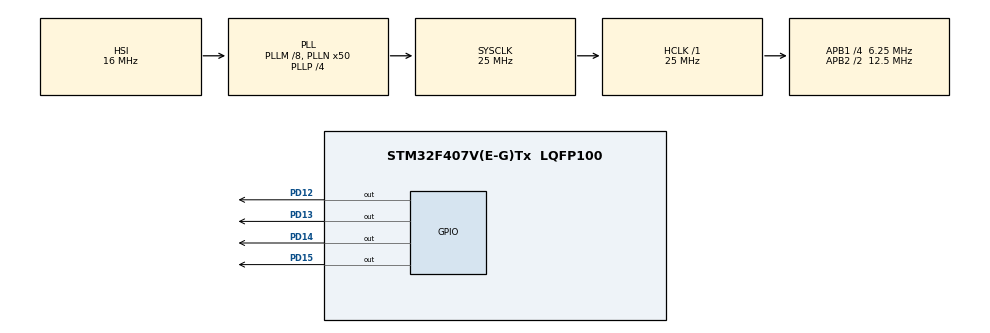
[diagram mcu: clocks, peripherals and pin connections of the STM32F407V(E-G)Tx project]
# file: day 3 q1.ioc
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Mcu.Family=STM32F4
Mcu.Name=STM32F407V(E-G)Tx
Mcu.Package=LQFP100
NVIC.PriorityGroup=NVIC_PRIORITYGROUP_4
NVIC.TIM1_UP_TIM10_IRQn=true\:0\:0\:false\:false\:true\:false\:true\:true
NVIC.TimeBase=TIM1_UP_TIM10_IRQn
NVIC.TimeBaseIP=TIM1
PD12.Signal=GPIO_Output
PD13.Signal=GPIO_Output
PD14.Signal=GPIO_Output
PD15.Signal=GPIO_Output
ProjectManager.HeapSize=0x200
ProjectManager.StackSize=0x400
ProjectManager.TargetToolchain=STM32CubeIDE
RCC.48MHZClocksFreq_Value=14285714.285714285
RCC.AHBFreq_Value=25000000
RCC.APB1CLKDivider=RCC_HCLK_DIV4
RCC.APB1Freq_Value=6250000
RCC.APB1TimFreq_Value=12500000
RCC.APB2CLKDivider=RCC_HCLK_DIV2
RCC.APB2Freq_Value=12500000
RCC.APB2TimFreq_Value=25000000
RCC.CortexFreq_Value=25000000
RCC.HCLKFreq_Value=25000000
RCC.HSE_VALUE=8000000
RCC.HSI_VALUE=16000000
RCC.LSE_VALUE=32768
RCC.PLLM=8
RCC.PLLN=50
RCC.PLLP=RCC_PLLP_DIV4
RCC.PLLQ=7
RCC.SYSCLKFreq_VALUE=25000000
RCC.SYSCLKSource=RCC_SYSCLKSOURCE_PLLCLK
RCC.VCOOutputFreq_Value=100000000
VP_SYS_VS_tim1.Mode=TIM1
board=STM32F407G-DISC1

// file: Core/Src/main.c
/* USER CODE BEGIN Header */
/**
  ******************************************************************************
  * @file           : main.c
  * @brief          : Main program body
  ******************************************************************************
  * @attention
  *
  * Copyright (c) 2024 STMicroelectronics.
  * All rights reserved.
  *
  * This software is licensed under terms that can be found in the LICENSE file
  * in the root directory of this software component.
  * If no LICENSE file comes with this software, it is provided AS-IS.
  *
  ******************************************************************************
  */
/* USER CODE END Header */
#include "main.h"

/* USER CODE BEGIN Includes */
#include "FreeRTOS"
#include "FreeRTOSConfig.h"
#include "task.h"
/* USER CODE END Includes */

void SystemClock_Config(void);
static void MX_GPIO_Init(void);

/* USER CODE BEGIN 0 */

void vLedTask1(void *pvParam)
{
	while(1)
	{
	HAL_GPIO_TogglePin(GPIOD, GPIO_PIN_12);
	vTaskDelay(1000 / portTICK_RATE_MS);
	}
vTaskDelete(NULL);
}

void vLedTask2(void *pvParam)
{
	while(1)
	{
	HAL_GPIO_TogglePin(GPIOD, GPIO_PIN_13);
	vTaskDelay(2000 / portTICK_RATE_MS);
	}
vTaskDelete(NULL);
}

void vLedTask3(void *pvParam)
{
	while(1)
	{
	HAL_GPIO_TogglePin(GPIOD, GPIO_PIN_14);
	vTaskDelay(3000 / portTICK_RATE_MS);
	}
vTaskDelete(NULL);
}

void vLedTask4(void *pvParam)
{
	while(1)
	{
	HAL_GPIO_TogglePin(GPIOD, GPIO_PIN_15);
	vTaskDelay(4000 / portTICK_RATE_MS);
	}
vTaskDelete(NULL);
}
/* USER CODE END 0 */

int main(void)
{

  /* MCU Configuration--------------------------------------------------------*/

  /* Reset of all peripherals, Initializes the Flash interface and the Systick. */
  HAL_Init();

  /* USER CODE BEGIN Init */
  BaseType_t ret;
  /* USER CODE END Init */

  /* Configure the system clock */
  SystemClock_Config();

  /* Initialize all configured peripherals */
  MX_GPIO_Init();
  /* USER CODE BEGIN 2 */
  ret = xTaskCreate(vLedTask1, "Aperiodic", configMINIMAL_STACK_SIZE, NULL, 1, NULL);
  if(ret != pdTRUE)
	  Error_Handler();

  ret = xTaskCreate(vLedTask2, "Aperiodic", configMINIMAL_STACK_SIZE, NULL, 2, NULL);
    if(ret != pdTRUE)
  	  Error_Handler();

    ret = xTaskCreate(vLedTask3, "Aperiodic", configMINIMAL_STACK_SIZE, NULL, 3, NULL);
      if(ret != pdTRUE)
    	  Error_Handler();

      ret = xTaskCreate(vLedTask4, "Aperiodic", configMINIMAL_STACK_SIZE, NULL, 4, NULL);
        if(ret != pdTRUE)
      	  Error_Handler();

  /* USER CODE END 2 */

  /* Infinite loop */
  while (1)
  {

  }
}

void SystemClock_Config(void)
{
  RCC_OscInitTypeDef RCC_OscInitStruct = {0};
  RCC_ClkInitTypeDef RCC_ClkInitStruct = {0};

  /** Configure the main internal regulator output voltage
  */
  __HAL_RCC_PWR_CLK_ENABLE();
  __HAL_PWR_VOLTAGESCALING_CONFIG(PWR_REGULATOR_VOLTAGE_SCALE1);

  /** Initializes the RCC Oscillators according to the specified parameters
  * in the RCC_OscInitTypeDef structure.
  */
  RCC_OscInitStruct.OscillatorType = RCC_OSCILLATORTYPE_HSI;
  RCC_OscInitStruct.HSIState = RCC_HSI_ON;
  RCC_OscInitStruct.HSICalibrationValue = RCC_HSICALIBRATION_DEFAULT;
  RCC_OscInitStruct.PLL.PLLState = RCC_PLL_ON;
  RCC_OscInitStruct.PLL.PLLSource = RCC_PLLSOURCE_HSI;
  RCC_OscInitStruct.PLL.PLLM = 8;
  RCC_OscInitStruct.PLL.PLLN = 50;
  RCC_OscInitStruct.PLL.PLLP = RCC_PLLP_DIV4;
  RCC_OscInitStruct.PLL.PLLQ = 7;
  if (HAL_RCC_OscConfig(&RCC_OscInitStruct) != HAL_OK)
  {
    Error_Handler();
  }

  /** Initializes the CPU, AHB and APB buses clocks
  */
  RCC_ClkInitStruct.ClockType = RCC_CLOCKTYPE_HCLK|RCC_CLOCKTYPE_SYSCLK
                              |RCC_CLOCKTYPE_PCLK1|RCC_CLOCKTYPE_PCLK2;
  RCC_ClkInitStruct.SYSCLKSource = RCC_SYSCLKSOURCE_PLLCLK;
  RCC_ClkInitStruct.AHBCLKDivider = RCC_SYSCLK_DIV1;
  RCC_ClkInitStruct.APB1CLKDivider = RCC_HCLK_DIV4;
  RCC_ClkInitStruct.APB2CLKDivider = RCC_HCLK_DIV2;

  if (HAL_RCC_ClockConfig(&RCC_ClkInitStruct, FLASH_LATENCY_0) != HAL_OK)
  {
    Error_Handler();
  }
}

static void MX_GPIO_Init(void)
{
  GPIO_InitTypeDef GPIO_InitStruct = {0};

  /* GPIO Ports Clock Enable */
  __HAL_RCC_GPIOD_CLK_ENABLE();

  /*Configure GPIO pin Output Level */
  HAL_GPIO_WritePin(GPIOD, GPIO_PIN_12|GPIO_PIN_13|GPIO_PIN_14|GPIO_PIN_15, GPIO_PIN_RESET);

  /*Configure GPIO pins : PD12 PD13 PD14 PD15 */
  GPIO_InitStruct.Pin = GPIO_PIN_12|GPIO_PIN_13|GPIO_PIN_14|GPIO_PIN_15;
  GPIO_InitStruct.Mode = GPIO_MODE_OUTPUT_PP;
  GPIO_InitStruct.Pull = GPIO_NOPULL;
  GPIO_InitStruct.Speed = GPIO_SPEED_FREQ_LOW;
  HAL_GPIO_Init(GPIOD, &GPIO_InitStruct);

}

void HAL_TIM_PeriodElapsedCallback(TIM_HandleTypeDef *htim)
{
  if (htim->Instance == TIM1) {
    HAL_IncTick();
  }
}

void Error_Handler(void)
{
  __disable_irq();
  while (1)
  {
  }
}
